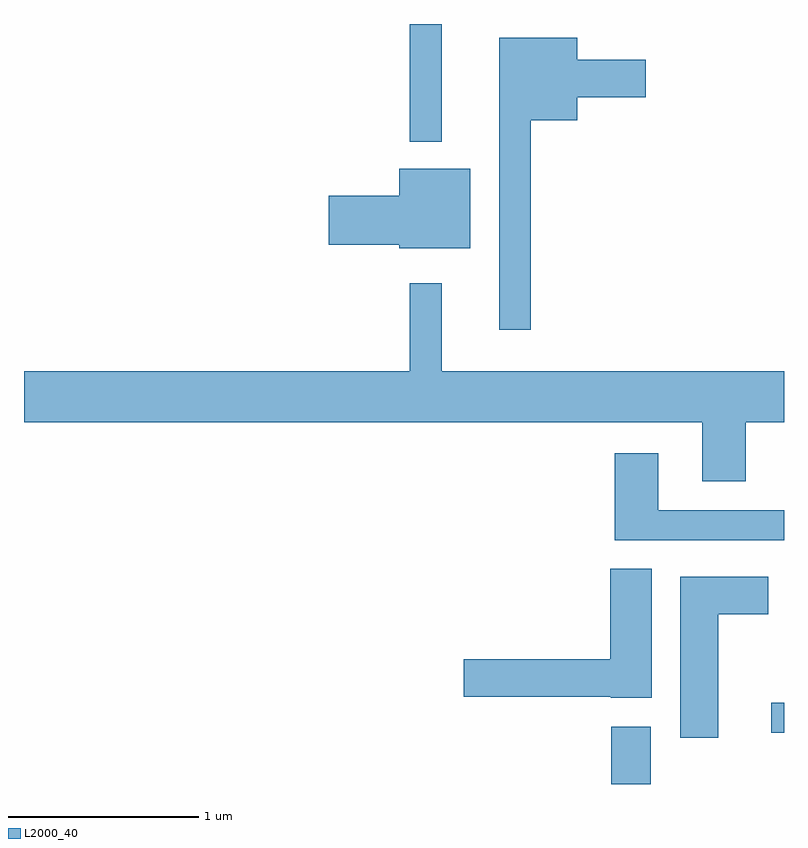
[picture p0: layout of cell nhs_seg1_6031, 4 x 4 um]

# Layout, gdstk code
import gdstk
lib = gdstk.Library(unit=1e-6, precision=1e-09)
def R(c, l, rs):  # rectangles x0, y0, x1, y1
    for r in rs: c.add(gdstk.rectangle(r[:2], r[2:], *l))
def P(c, l, *ps):  # polygons
    for p in ps: c.add(gdstk.Polygon(p, *l))
L2000_40 = (2000, 40)

nhs_seg1_6031 = lib.new_cell('nhs_seg1_6031')
R(nhs_seg1_6031, L2000_40, [(370.701,857.712,370.909,858.014), (371.543,857.981,371.611,858.139), (369.641,861.093,369.809,861.712)])
P(nhs_seg1_6031, L2000_40, [(370.279,861.206),(370.524,861.206),(370.524,861.326),(370.884,861.326),(370.884,861.524),(370.524,861.524),(370.524,861.639),(370.111,861.639),(370.111,860.103),(370.279,860.103)],
  [(369.959,860.949),(369.586,860.949),(369.586,860.809),(369.216,860.809),(369.216,860.551),(369.586,860.551),(369.586,860.531),(369.959,860.531)],
  [(371.409,859.616),(371.611,859.616),(371.611,859.884),(369.809,859.884),(369.809,860.348),(369.641,860.348),(369.641,859.884),(367.611,859.884),(367.611,859.616),(371.181,859.616),(371.181,859.306),(371.409,859.306)],
  [(371.611,859.154),(370.949,859.154),(370.949,859.454),(370.721,859.454),(370.721,858.996),(371.611,858.996)],
  [(370.914,858.844),(370.696,858.844),(370.696,858.369),(369.926,858.369),(369.926,858.171),(370.7,858.171),(370.7,858.166),(370.914,858.166)],
  [(371.264,858.606),(371.529,858.606),(371.529,858.804),(371.066,858.804),(371.066,857.956),(371.264,857.956)])

lib.write_gds('nhs_seg1_6031.gds')
